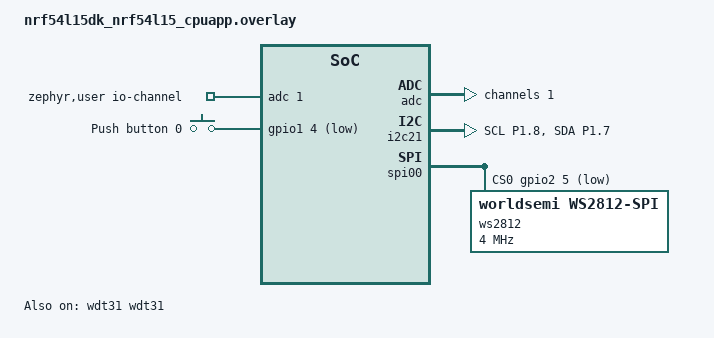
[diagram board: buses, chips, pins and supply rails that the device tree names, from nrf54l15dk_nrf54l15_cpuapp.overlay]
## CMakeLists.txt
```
cmake_minimum_required(VERSION 3.20.0)
find_package(Zephyr REQUIRED HINTS $ENV{ZEPHYR_BASE})
project(Frizmee_v1)
target_sources(app PRIVATE src/main.c)
target_sources(app PRIVATE src/ble.h)
target_sources(app PRIVATE src/ws2812.h)
if(CONFIG_APP_USE_RETAINED_MEM)
  target_sources(app PRIVATE src/retained.c)
endif()
```

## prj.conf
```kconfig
CONFIG_BT=y
CONFIG_BT_PERIPHERAL=y
CONFIG_BT_DEVICE_NAME="Freezmee_v2"
CONFIG_WATCHDOG=y
CONFIG_BT_GATT_CLIENT=y
CONFIG_BT_USER_DATA_LEN_UPDATE=y
CONFIG_BT_CTLR_DATA_LENGTH_MAX=251
CONFIG_BT_BUF_ACL_RX_SIZE=251
CONFIG_BT_BUF_ACL_TX_SIZE=251
CONFIG_BT_L2CAP_TX_MTU=247
CONFIG_SYSTEM_WORKQUEUE_STACK_SIZE=8192
CONFIG_MAIN_STACK_SIZE=8192
CONFIG_BT_RX_STACK_SIZE=2048
CONFIG_LOG=y
CONFIG_SERIAL=y
CONFIG_PRINTK=y
CONFIG_ADC=y
CONFIG_I2C=y
CONFIG_SENSOR=y
CONFIG_GPIO=y
CONFIG_HWINFO=y
CONFIG_POWEROFF=y
CONFIG_BT_DATA_LEN_UPDATE=y
CONFIG_BT_USER_PHY_UPDATE=y
CONFIG_BT_PHY_UPDATE=y
CONFIG_BT_AUTO_PHY_UPDATE=n
CONFIG_BT_BUF_CMD_TX_COUNT=10
CONFIG_BT_CTLR_PHY_CODED=y
CONFIG_MCUBOOT_IMGTOOL_SIGN_VERSION="3.1.1"
CONFIG_NCS_SAMPLE_MCUMGR_BT_OTA_DFU=y
CONFIG_LED_STRIP=y
CONFIG_SPI=y
CONFIG_FPU=y
CONFIG_NEWLIB_LIBC=y
CONFIG_NEWLIB_LIBC_FLOAT_PRINTF=y
# NFC 
CONFIG_NFC_T2T_NRFXLIB=y
CONFIG_NFC_NDEF=y
CONFIG_NFC_NDEF_MSG=y
CONFIG_NFC_NDEF_RECORD=y
CONFIG_NFC_NDEF_TEXT_RECORD=y
CONFIG_NFC_NDEF_URI_MSG=y
CONFIG_NFC_NDEF_URI_REC=y
```

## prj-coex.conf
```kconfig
CONFIG_BT=y
CONFIG_LOG=y
CONFIG_BT_LL_SW_SPLIT=y
CONFIG_BT_CTLR_COEX_TICKER=y
```

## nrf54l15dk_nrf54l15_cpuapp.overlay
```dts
#include <dt-bindings/led/led.h>
/ {
	zephyr,user {
		io-channels = <&adc 1>;
	};

	aliases {
		// i2c0 = &i2c20;
		i2c1 = &i2c21;
		i2c2 = &i2c22;
		adc0 = &adc;
	};
	buttons{

		button0: button_0 {
			gpios = <&gpio1 4 (GPIO_PULL_DOWN | GPIO_ACTIVE_LOW)>;
			label = "Push button 0";
			zephyr,code = <INPUT_KEY_0>;
		};
	};

};
&adc {


	#address-cells = <1>;
	#size-cells = <0>;
	status = "okay";

	channel@1 {
		reg = <1>;
		zephyr,gain = "ADC_GAIN_1_4";
		zephyr,reference = "ADC_REF_INTERNAL";
		zephyr,acquisition-time = <ADC_ACQ_TIME_DEFAULT>;
		zephyr,input-positive = <NRF_SAADC_AIN5>; /* P1.01 */
		zephyr,resolution = <12>;
		zephyr,oversampling = <8>;
	};
};
&uart20 {
	status = "disabled";
};
&wdt31 {
	status = "okay";
	label = "wdt31";
};

&i2c21 {
	status = "okay";
	pinctrl-0 = <&i2c21_default>;
	pinctrl-1 = <&i2c21_sleep>;
	pinctrl-names = "default", "sleep";
};
&spi00 {
	status = "okay";
	cs-gpios = <&gpio2 5 GPIO_ACTIVE_LOW>;
	pinctrl-0 = <&spi00_default>;
	pinctrl-1 = <&spi00_sleep>;
	pinctrl-names = "default", "sleep";
	label = "spi00";
	ws2812: ws2812@0 {
		compatible = "worldsemi,ws2812-spi";
		reg = <0>;
		spi-max-frequency = <4000000>;
		chain-length = <8>;
		color-mapping = <LED_COLOR_ID_GREEN>,
		                <LED_COLOR_ID_RED>,
		                <LED_COLOR_ID_BLUE>;
		spi-one-frame = <0xE>;
		spi-zero-frame = <0x8>;
		status = "okay";
	};
};

&pinctrl {
	i2c21_default: i2c21_default {
		group1 {
			psels = <NRF_PSEL(TWIM_SCL, 1, 8)>, <NRF_PSEL(TWIM_SDA, 1, 7)>;
		};
	};

	i2c21_sleep: i2c21_sleep {
		group1 {
			psels = <NRF_PSEL(TWIM_SCL, 1, 8)>, <NRF_PSEL(TWIM_SDA, 1, 7)>;
		};
	};
};
```

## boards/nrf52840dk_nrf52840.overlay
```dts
/{
    coex_gpio: coex {
        compatible = "gpio-radio-coex";
        grant-gpios = <&gpio1 0 (GPIO_PULL_DOWN | GPIO_ACTIVE_LOW)>;
        grant-delay-us = <150>;
    };
};

&radio {
    coex = <&coex_gpio>;
};
```

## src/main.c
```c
#include <zephyr/kernel.h>
#include <zephyr/types.h>
#include <zephyr/device.h>
#include <stddef.h>
#include <zephyr/bluetooth/bluetooth.h>
#include <zephyr/bluetooth/hci.h>
#include <hal/nrf_gpio.h>
#include <zephyr/logging/log.h>
#include <zephyr/drivers/sensor.h>
#include <zephyr/drivers/i2c.h>
#include <zephyr/drivers/gpio.h>
#include <zephyr/sys/printk.h>
// adc

#include <zephyr/drivers/adc.h>
#include <zephyr/sys/util.h>
#include <hal/nrf_power.h>
#include <zephyr/drivers/hwinfo.h>
#include <zephyr/pm/device.h>
#include <zephyr/sys/poweroff.h>
#include "ble.h"
#include "ws2812.h"
/* NFC */
#include <stdio.h>
#include <nfc_t2t_lib.h>
#include <nfc/ndef/msg.h>
#include <nfc/ndef/text_rec.h>
#include <nfc/ndef/uri_msg.h>
#include <nfc/ndef/record.h>
#include <zephyr/devicetree.h>
#include <zephyr/drivers/watchdog.h>
#if !DT_NODE_EXISTS(DT_PATH(zephyr_user)) || \
	!DT_NODE_HAS_PROP(DT_PATH(zephyr_user), io_channels)
#endif
#define DT_SPEC_AND_COMMA(node_id, prop, idx) \
	ADC_DT_SPEC_GET_BY_IDX(node_id, idx),
static const struct adc_dt_spec adc_channels[] = {DT_FOREACH_PROP_ELEM(DT_PATH(zephyr_user), io_channels, DT_SPEC_AND_COMMA)};

#define INT_EN 0x10
#define INT_STATUS 0x37
#define INT_MASK 0x0F
#define OPAR_MODE_REG 0x3d
#define NDOF 0x0c
#define ACC_INT_Settings 0x12
#define PAGE_ID 0x07
#define BNO055_INT_STA_ADDR 0X37
#define SLEEP_TIME_MS 1000
#define ACC_NM_INT (1 << 1)
#define ACC_NM_MSK (1 << 1)
#define ACC_INT_SETTINGS 0x12
#define ACC_NM_THRES 0x03
#define ACC_NM_SET (1 << 0) | (30 << 1)
#define ACCONLY 0x01
#define SYS_TRIGGER 0x3f
#define ACC_AM_THRES 0x12
#define POWER_MODE_ADDR 0x3E
#define RST_INT 0x40
#define ACC_AM_MSK 0x40
#define ACC_AM_INT 0x40
#define ACC_HIGH_G 0x20
#define BNO055_i2C_ADDR 0x29
#define SW0_NODE DT_ALIAS(sw0)
#define MY_STACK_SIZE 1024
#define MY_PRIORITY 5

/* bno055 Address */
#define BNO055_ACCEL_DATA_ADDR 0x08
#define BNO055_MAG_DATA_ADDR 0x0E
#define BNO055_GYRO_DATA_ADDR 0x14
#define BNO055_EULER_DATA_ADDR 0x1A
#define BNO055_QUATERNION_DATA_ADDR 0x20
#define BNO055_LIA_DATA_ADDR 0x28
#define BNO055_GRAVITY_DATA_ADDR 0x2E
#define MAX_REC_COUNT 1
#define NDEF_MSG_BUF_SIZE 256
/* battery */
int32_t bat_voltage = 0;
uint8_t soc = 0;
const struct device *wdt = DEVICE_DT_GET(DT_NODELABEL(wdt31));
static const struct gpio_dt_spec Interrupt = GPIO_DT_SPEC_GET_OR(SW0_NODE, gpios, {0});
static const struct device *i2c = DEVICE_DT_GET(DT_ALIAS(i2c1));
K_THREAD_STACK_DEFINE(my_stack_area, MY_STACK_SIZE);
float ax, ay, az, mx, my, gx, gy, gz, mz, qw, qx, qy, qz, lax, lay, laz, heading, roll, pitch, gvx, gvy, gvz;
int16_t axis_diff_xp = 0;
int16_t axis_diff_xa = 0;
int16_t axis_diff_yp = 0;
int16_t axis_diff_ya = 0;
int16_t axis_diff_zp = 0;
int16_t axis_diff_za = 0;
bool bno055_Eflag = 0;
struct k_thread my_thread_data;
uint8_t r = 0, g = 50, b = 0;
bool nfc_flag = 1;
uint8_t buf;
uint8_t count = 0;
int8_t in_Hand_Threshold = 3;
/* NFC */
static void nfc_callback(void *context, nfc_t2t_event_t event, const uint8_t *data, size_t data_len)
{
	switch (event)
	{
	case NFC_T2T_EVENT_FIELD_ON:
		printf("NFC tag Field event\n");
		break;
	case NFC_T2T_EVENT_FIELD_OFF:
		printf("NFC tag write event\n");
		break;
	default:
		printf("Unknown NFC event\n");
		break;
	}
}
void nfc_write(void *p1, void *p2, void *p3)
{
	ARG_UNUSED(p1);
	ARG_UNUSED(p2);
	ARG_UNUSED(p3);

	static const uint8_t uri[] = "mlworkx.com";
	uint8_t ndef_mdg_buf[128];
	size_t len = sizeof(ndef_mdg_buf);
	nfc_ndef_uri_msg_encode(
		NFC_URI_HTTP_WWW,
		uri,
		sizeof(uri) - 1,
		ndef_mdg_buf,
		&len);
	nfc_t2t_setup(nfc_callback, NULL);
	nfc_t2t_payload_set(ndef_mdg_buf, len);
	nfc_t2t_emulation_start();
	while (nfc_flag == 1)
	{
		k_sleep(K_MSEC(100));
	}
	nfc_t2t_emulation_stop();
	nfc_t2t_done();
}

void readVector(uint8_t addr, float *x, float *y, float *z, float scale)
{
	uint8_t data[6];
	int ret = i2c_burst_read(i2c, BNO055_i2C_ADDR, addr, data, sizeof(data));
	if (ret < 0)
	{
		printf("I2C read error: %d\n", ret);
		return;
	}
	int16_t raw = (int16_t)((data[1] << 8) | data[0]);
	*x = (float)raw / scale;
	raw = (int16_t)((data[3] << 8) | data[2]);
	*y = (float)raw / scale;
	raw = (int16_t)((data[5] << 8) | data[4]);
	*z = (float)raw / scale;
}
void readQuaternion(float *x, float *y, float *z, float *w)
{
	uint8_t data[8];
	int ret = i2c_burst_read(i2c, BNO055_i2C_ADDR, 0x20, data, sizeof(data));
	if (ret < 0)
	{
		printf("I2C read error: %d\n", ret);
		return;
	}
	// Combine the two bytes for each component and apply scale
	int16_t raw = (int16_t)((data[1] << 8) | data[0]);
	*w = (float)raw / 16384.0f;
	raw = (int16_t)((data[3] << 8) | data[2]);
	*x = (float)raw / 16384.0f;
	raw = (int16_t)((data[5] << 8) | data[4]);
	*y = (float)raw / 16384.0f;
	raw = (int16_t)((data[7] << 8) | data[6]);
	*z = (float)raw / 16384.0f;
}

void read_bno055(void)
{
	readVector(BNO055_ACCEL_DATA_ADDR, &ax, &ay, &az, 100.0f);			// Acceleration in m/s²
	readVector(BNO055_GYRO_DATA_ADDR, &gx, &gy, &gz, 16.0f);			// Gyroscope in °/s
	readVector(BNO055_MAG_DATA_ADDR, &mx, &my, &mz, 16.0f);				// Magnetometer in µT
	readVector(BNO055_EULER_DATA_ADDR, &heading, &roll, &pitch, 16.0f); // Euler angles in °
	readQuaternion(&qx, &qy, &qz, &qw);									// Quaternion
	readVector(BNO055_LIA_DATA_ADDR, &lax, &lay, &laz, 100.0f);			// Linear acceleration in m/s²
	axis_diff_xa = axis_diff_xp - ax;
	axis_diff_xp = ax;
	axis_diff_ya = axis_diff_yp - ay;
	axis_diff_yp = ay;
	axis_diff_za = axis_diff_zp - az;
	axis_diff_zp = az;
}
void send_all_bno055(void)
{
	read_bno055();
	memset(data, 0, sizeof(data));
	data[0] = 0xaa; 
	data[1] = 0x01; 
	data[2] = 0x00; 
	data[3] = 0x01; 
	data[4] = soc;
	data[6] = bat_voltage / 100;
	data[8] = 0x00;
	memcpy(&data[9], &ax, sizeof(float));
	memcpy(&data[13], &ay, sizeof(float));
	memcpy(&data[17], &az, sizeof(float));
	memcpy(&data[21], &gx, sizeof(float)); 
	memcpy(&data[25], &gy, sizeof(float));
	memcpy(&data[29], &gz, sizeof(float));
	memcpy(&data[33], &qw, sizeof(float)); 
	memcpy(&data[37], &qx, sizeof(float));
	memcpy(&data[41], &qy, sizeof(float));
	memcpy(&data[45], &qz, sizeof(float));
	memcpy(&data[49], &heading, sizeof(float)); 
	memcpy(&data[53], &roll, sizeof(float));
	memcpy(&data[57], &pitch, sizeof(float));
	memcpy(&data[61], &led_status, sizeof(int8_t)); 
	data[62] = 0x55;
	if (ble_connected)
	{
		notify_data();
	}
}

uint8_t blink = 1;
bool led_flag = 0;

void ws2812_led()
{
	/* The format of payload is:
	BYTE 0: HEADER
	BYTE 1: RED INTENSITY
	BYTE 2: GREEN INTENSITY
	BYTE 3: BLUE INTENSITY
	BYTE 4: BLINK
	BYTE 5: FOOTER
	*/
	// Make sure that the buffer received is of 6 bytes
	while (1)
	{
		if (request_recieved)
		{
			request_recieved = false;
			if ((recieved_payload_length == 6) && (buf_ptr[recieved_payload_length - 1] == 0x55) && (buf_ptr[0] == 0xAA))
			{
				printk("VALID PAYLOAD");
				r = buf_ptr[1];
				g = buf_ptr[2];
				b = buf_ptr[3];
				blink = buf_ptr[4];
				led_status = 3;
			}
			else
			{
				printk("INVALID PAYLOAD");
			}
		}
		if (led_flag)
		{
			led_status = 3;
		}
		printk("ws2812_led status: %d\n", led_status);
		if (led_status == 0)
		{
			ws2812_set_colors(50, 50, 50);
		}
		else if (led_status == 1)
		{
			ws2812_set_colors(0, 0, 50);
		}
		else if (led_status == 2)
		{
			ws2812_set_colors(0, 50, 0);
			// led_status = 3;
		}
		else if (led_status == 3)
		{
			ws2812_set_colors(r, g, b);
			led_flag = 1;
		}
		else if (led_status == 4)
		{
			ws2812_set_colors(50, 0, 0);
		}
		else if (led_status == 5)
		{
			ws2812_set_colors(0, 0, 0);
		}
		else if (led_status == 6)
		{
			ws2812_set_colors(0xff, 0, 0xff);
		}
		else if (led_status == 7)
		{
			ws2812_set_colors(99, 78, 00);
		}
		if (blink)
		{
			k_msleep(500);
			ws2812_set_colors(0, 0, 0);
			k_msleep(500);
		}
		k_msleep(100);
	}
}

#define PDN_PIN NRF_GPIO_PIN_MAP(1, 13) 
#define RX_PIN NRF_GPIO_PIN_MAP(1, 9)	
#define TX_PIN NRF_GPIO_PIN_MAP(1, 6)	
#define ANT_PIN NRF_GPIO_PIN_MAP(1, 10) 
static void fem_Init_54dk_cust()
{
	nrf_gpio_cfg_output(PDN_PIN); 
	nrf_gpio_cfg_output(TX_PIN);  
	nrf_gpio_cfg_output(RX_PIN);  
	nrf_gpio_cfg_output(ANT_PIN); 
	nrf_gpio_pin_set(23);		
	nrf_gpio_pin_set(17);		  
};
static void fem_Tx_54_20()
{
	printf("Rx is disable\n");
	nrf_gpio_pin_clear(RX_PIN); 
	nrf_gpio_pin_set(ANT_PIN);	
	nrf_gpio_pin_set(TX_PIN);	
	printf("Tx is Enabled\n");
};
static void fem_Tx_54_10()
{
	printf("Rx is disable\n");
	nrf_gpio_pin_clear(RX_PIN);
	nrf_gpio_pin_clear(ANT_PIN);
	nrf_gpio_pin_set(TX_PIN);	 
	printf("Tx is Enabled\n");
};

int bat_pwr_init()
{
	int err;
	for (size_t i = 0U; i < ARRAY_SIZE(adc_channels); i++)
	{
		if (!adc_is_ready_dt(&adc_channels[i]))
		{
			printk("ADC controller device %s not ready\n", adc_channels[i].dev->name);
			return 0;
		}

		err = adc_channel_setup_dt(&adc_channels[i]);
		if (err < 0)
		{
			printk("Could not setup channel #%d (%d)\n", i, err);
			return 0;
		}
	}
	return 0;
}
void bat_read()
{
	uint8_t err;
	uint16_t adc_buf;
	struct adc_sequence sequence = {
		.buffer = &adc_buf,
		.buffer_size = sizeof(adc_buf),
	};
	printk("ADC reading[%u]:\n", count++);
	for (size_t i = 0U; i < ARRAY_SIZE(adc_channels); i++)
	{
		int32_t val_mv;

		printk("- %s, channel %d: ",
			   adc_channels[i].dev->name,
			   adc_channels[i].channel_id);
		(void)adc_sequence_init_dt(&adc_channels[i], &sequence);
		err = adc_read(adc_channels[i].dev, &sequence);
		if (err < 0)
		{
			printk("Could not read (%d)\n", err);
			continue;
		}
		if (adc_channels[i].channel_cfg.differential)
		{
			val_mv = (int32_t)((int16_t)adc_buf);
		}
		else
		{
			val_mv = (int32_t)adc_buf;
		}
		printk("%" PRId32, val_mv);
		err = adc_raw_to_millivolts_dt(&adc_channels[i],
									   &val_mv);
		if (err < 0)
		{
			printk(" (value in mV not available)\n");
		}
		else
		{
			printk(" = %" PRId32 " mV\n", val_mv);
		}
		if (val_mv > 2166)
		{
			val_mv = 2166;
		}
		else if (val_mv < 1604)
		{
			val_mv = 1604;
		}
		soc = ((val_mv - 1604) * 100 / (2166 - 1604));
		bat_voltage = val_mv;
		printk("\nCharged = %d per", soc);
	}
}

void print_reset_cause(uint32_t reset_cause)
{
	if (reset_cause & RESET_DEBUG)
	{
		printf("Reset by debugger.\n");
	}
	else if (reset_cause & RESET_CLOCK)
	{
		printf("Wakeup from System OFF by GRTC.\n");
	}
	else if (reset_cause & RESET_LOW_POWER_WAKE)
	{
		printf("Wakeup from System OFF by GPIO.\n");
	}
	else
	{
		printf("Other wake up cause 0x%08X.\n", reset_cause);
	}
}

int sys_off()
{

	uint32_t reset_cause;
	hwinfo_get_reset_cause(&reset_cause);
	print_reset_cause(reset_cause);
	hwinfo_clear_reset_cause();
	sys_poweroff();
	return 0;
}

uint8_t read_int_status()
{
	uint8_t int_status;
	int ret = i2c_burst_read(i2c, BNO055_i2C_ADDR, BNO055_INT_STA_ADDR, &int_status, 1);
	if (ret < 0)
	{
		printf("I2C read error: %d\n", ret);
		return ret;
	}
	return int_status;
}

int wdt_channel_id;
void watch_dog_timer_init()
{
	struct wdt_timeout_cfg wdt_config = {
		.flags = WDT_FLAG_RESET_SOC, 
		.window.min = 0,			
		.window.max = 10000,		
		.callback = NULL,			 
	};
	wdt_channel_id = wdt_install_timeout(wdt, &wdt_config);
	wdt_setup(wdt, NULL);
};

void bno055_enter_low_power(void)
{
	/* Low_power */
	i2c_reg_write_byte(i2c, BNO055_i2C_ADDR, OPAR_MODE_REG, 0x00);
	k_msleep(20);

	i2c_reg_write_byte(i2c, BNO055_i2C_ADDR, POWER_MODE_ADDR, 0x01);
	k_msleep(20);
	i2c_reg_write_byte(i2c, BNO055_i2C_ADDR, PAGE_ID, 1);
	k_msleep(20);

	i2c_reg_write_byte(i2c, BNO055_i2C_ADDR, INT_EN, ACC_AM_INT | ACC_NM_INT);
	k_msleep(20);

	i2c_reg_write_byte(i2c, BNO055_i2C_ADDR, INT_MASK, 0x00);
	k_msleep(20);

	i2c_reg_write_byte(i2c, BNO055_i2C_ADDR, ACC_AM_THRES, 0x0E);
	k_msleep(20);

	i2c_reg_write_byte(i2c, BNO055_i2C_ADDR, ACC_INT_SETTINGS, 0b00011110);
	k_msleep(20);

	i2c_reg_write_byte(i2c, BNO055_i2C_ADDR, ACC_NM_THRES, 0x03);
	k_msleep(20);

	i2c_reg_write_byte(i2c, BNO055_i2C_ADDR, ACC_NM_SET, (1 << 0) | (30 << 1));
	k_msleep(20);

	i2c_reg_write_byte(i2c, BNO055_i2C_ADDR, PAGE_ID, 0);
	k_msleep(20);
	i2c_reg_write_byte(i2c, BNO055_i2C_ADDR, OPAR_MODE_REG, ACCONLY);
	k_msleep(20);
	i2c_reg_write_byte(i2c, BNO055_i2C_ADDR, SYS_TRIGGER, 0x40);
}
// #define ACC_AM_INT (1 << 0)

int main(void)
{
	start_time = k_uptime_get();
	int err;
	watch_dog_timer_init();

	ws2812_init();
	k_msleep(100);

	k_thread_create(&my_thread_data, my_stack_area, K_THREAD_STACK_SIZEOF(my_stack_area), ws2812_led, NULL, NULL, NULL, MY_PRIORITY, 0, K_NO_WAIT);
	bat_pwr_init();
	bat_read();

	if (soc < 20)
	{

		uint8_t low_pwr_count = 0;
		while (low_pwr_count < 4)
		{
			led_status = 4;
			low_pwr_count++;
			k_msleep(1000);
		}
	}
	fem_Init_54dk_cust();
	fem_Tx_54_20();
	err = ble_init();
	if (err)
	{
		printk("Bluetooth init failed (err %d)\n", err);
	}
	start_advertising();

	
	i2c_reg_write_byte(i2c, BNO055_i2C_ADDR, OPAR_MODE_REG, 0x00); 
	k_msleep(20);
	i2c_reg_write_byte(i2c, BNO055_i2C_ADDR, PAGE_ID, 1); 
	k_msleep(20);
	i2c_reg_write_byte(i2c, BNO055_i2C_ADDR, INT_EN, ACC_AM_INT); 
	k_msleep(20);
	i2c_reg_write_byte(i2c, BNO055_i2C_ADDR, ACC_AM_THRES, 0x0e); 
	k_msleep(20);
	i2c_reg_write_byte(i2c, BNO055_i2C_ADDR, INT_MASK, ACC_AM_MSK); 
	k_msleep(20);
	i2c_reg_write_byte(i2c, BNO055_i2C_ADDR, PAGE_ID, 0);
	k_msleep(20);
	i2c_reg_write_byte(i2c, BNO055_i2C_ADDR, OPAR_MODE_REG, NDOF); 
	k_msleep(20);
	i2c_reg_write_byte(i2c, BNO055_i2C_ADDR, SYS_TRIGGER, 0x40); 

	while (1)
	{
		wdt_feed(wdt, wdt_channel_id);
		bat_read();
		send_all_bno055();
		k_msleep(100);
		int val_time = k_uptime_get();
		printk("current time %d", val_time);
		if (!ble_connected && val_time > start_time + 10000 && bno055_Eflag == 0)
		{
			led_flag = 0;
			blink = 0;
			gpio_pin_configure_dt(&Interrupt, GPIO_INPUT);
			if (read_int_status())
			{
				i2c_reg_write_byte(i2c, BNO055_i2C_ADDR, SYS_TRIGGER, 0x40); // Resetting Int pin
			}
			else
			{
				gpio_pin_interrupt_configure_dt(&Interrupt, GPIO_INT_LEVEL_HIGH);
				ble_deinit();
				led_status = 5;
				ws2812_set_colors(0, 0, 0);
				k_msleep(500);
				nfc_flag = 0;
				sys_off();
			}
		}
		else if (ble_connected || axis_diff_xa > in_Hand_Threshold || axis_diff_ya > in_Hand_Threshold || axis_diff_ya < -in_Hand_Threshold || axis_diff_xa < -in_Hand_Threshold || axis_diff_ya < -in_Hand_Threshold || axis_diff_ya < -in_Hand_Threshold)
		{
			start_time = k_uptime_get();
		}
		else
		{
			continue;
		}
	}
	return 0;
}
K_THREAD_DEFINE(
	nfc_thread_id,
	1024,
	nfc_write,
	NULL, NULL, NULL,
	5,
	0,
	0);
```

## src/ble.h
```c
#include <zephyr/kernel.h>
#include <zephyr/bluetooth/bluetooth.h>
#include <zephyr/bluetooth/conn.h>
#include <zephyr/bluetooth/gatt.h>
#include <zephyr/bluetooth/uuid.h>
#include <zephyr/sys/printk.h>

static struct bt_uuid_128 custom_service_uuid = BT_UUID_INIT_128(BT_UUID_CUSTOM_SERVICE_VAL);
static struct bt_uuid_128 custom_char_uuid = BT_UUID_INIT_128(BT_UUID_CUSTOM_CHAR_VAL);

static uint8_t data[80] = {0};
static bool notify_enabled = false;
static struct bt_conn *default_conn;
static bool ble_connected = false;
int start_time;
uint8_t *buf_ptr;
uint16_t recieved_payload_length;
bool request_recieved;
int8_t led_status = 1; /* 0-off 1- advertising 2-connected 3-custom 4-error */

#define BT_UUID_CUSTOM_SERVICE_VAL \
	BT_UUID_128_ENCODE(0x12345678, 0x1234, 0x5678, 0x9abc, 0xdef012345678)

#define BT_UUID_CUSTOM_CHAR_VAL \
	BT_UUID_128_ENCODE(0x12345678, 0x1234, 0x5678, 0x9abc, 0xdef012345679)

static void ccc_cfg_changed(const struct bt_gatt_attr *attr, uint16_t value)
{
	ARG_UNUSED(attr);
	notify_enabled = (value == BT_GATT_CCC_NOTIFY);
	printk("Notifications %s\n", notify_enabled ? "enabled" : "disabled");
}

static ssize_t read_data(struct bt_conn *conn,
						 const struct bt_gatt_attr *attr,
						 void *buf, uint16_t len, uint16_t offset)
{
	return bt_gatt_attr_read(conn, attr, buf, len, offset, data, sizeof(data));
}

static uint8_t rx_buf[20];
static ssize_t write_my_char(struct bt_conn *conn,
							 const struct bt_gatt_attr *attr,
							 const void *buf, uint16_t len,
							 uint16_t offset, uint8_t flags)
{
	request_recieved = true;
	recieved_payload_length = len;
	printk("Printing from callback: ");
	buf_ptr = (uint8_t *)buf;
	for (int i = 0; i < recieved_payload_length; i++)
	{
		printk("%02X", buf_ptr[i]);
	}
	printk("\n");

	uint16_t copy_len = MIN(len, sizeof(rx_buf) - 1);
	memcpy(rx_buf, buf, copy_len);
	rx_buf[copy_len] = '\0';

	if (len == 0)
	{
		return 0;
	}
	return len;
}

BT_GATT_SERVICE_DEFINE(custom_svc,
					   BT_GATT_PRIMARY_SERVICE(&custom_service_uuid),
					   BT_GATT_CHARACTERISTIC(&custom_char_uuid.uuid,
											  BT_GATT_CHRC_READ | BT_GATT_CHRC_WRITE | BT_GATT_CHRC_NOTIFY,
											  BT_GATT_PERM_READ | BT_GATT_PERM_WRITE,
											  read_data, write_my_char, data),
					   BT_GATT_CCC(ccc_cfg_changed, BT_GATT_PERM_READ | BT_GATT_PERM_WRITE));

static void connected(struct bt_conn *conn, uint8_t err);
static void disconnected(struct bt_conn *conn, uint8_t reason);

void on_le_phy_updated(struct bt_conn *conn, struct bt_conn_le_phy_info *param)
{
	if (param->tx_phy == BT_CONN_LE_TX_POWER_PHY_1M)
	{
		printk("PHY updated. New PHY: 1M\n");
	}
	else if (param->tx_phy == BT_CONN_LE_TX_POWER_PHY_2M)
	{
		printk("PHY updated. New PHY: 2M\n");
	}
	else if (param->tx_phy == BT_CONN_LE_TX_POWER_PHY_CODED_S8)
	{
		printk("PHY updated. New PHY: Long Range\n");
	}
}
static struct bt_conn_cb conn_callbacks = {
	.connected = connected,
	.disconnected = disconnected,
	.le_phy_updated = on_le_phy_updated,
};
int notify_data(void)
{
	int err;
	int attempt = 0;
	if (!default_conn)
		return -ENOTCONN;
	if (!notify_enabled)
		return -EACCES;

	size_t data_len = 0; 
	for (size_t i = 0; i < sizeof(data); i++)
	{
		if (data[i] != 0)
			data_len = i + 1;
	}

	struct bt_gatt_notify_params params = {
		.attr = &custom_svc.attrs[2],
		.data = data,
		.len = data_len,
	};
	err = bt_gatt_notify(default_conn, params.attr, params.data, params.len);
	return -ENOMEM;
}

static void update_phy(struct bt_conn *conn)
{
	int err;
	const struct bt_conn_le_phy_param preferred_phy = {
		.options = BT_CONN_LE_PHY_OPT_NONE,
		.pref_rx_phy = BT_GAP_LE_PHY_2M,
		.pref_tx_phy = BT_GAP_LE_PHY_2M,
	};

	err = bt_conn_le_phy_update(conn, &preferred_phy);
	if (err)
	{
		printk("bt_conn_le_phy_update() returned %d", err);
	}
}

static void connected(struct bt_conn *conn, uint8_t err)
{
	if (err)
	{
		printk("Connection failed (err 0x%02x)\n", err);
		return;
	}
	char addr[BT_ADDR_LE_STR_LEN];
	bt_addr_le_to_str(bt_conn_get_dst(conn), addr, sizeof(addr));
	printk("Connected to: %s\n", addr);

	default_conn = bt_conn_ref(conn);
	ble_connected = true;
	led_status = 2;
}

static void disconnected(struct bt_conn *conn, uint8_t reason)
{
	char addr[BT_ADDR_LE_STR_LEN];
	bt_addr_le_to_str(bt_conn_get_dst(conn), addr, sizeof(addr));
	printk("Disconnected from: %s (reason 0x%02x)\n", addr, reason);

	ble_connected = false;
	led_status = 4;
	k_msleep(1000);
	if (default_conn)
	{
		led_status = 1;
		bt_conn_unref(default_conn);
		default_conn = NULL;
	}
}

int8_t ble_init(void)
{
	int err = bt_enable(NULL);
	if (err)
	{
		printk("Bluetooth init failed (err %d)\n", err);
		return err;
	}
	printk("Bluetooth initialized\n");
	bt_conn_cb_register(&conn_callbacks);
	return 0;
}

int8_t ble_deinit(void)
{
	int err;
	if (default_conn)
	{
		err = bt_conn_disconnect(default_conn, BT_HCI_ERR_REMOTE_USER_TERM_CONN);
		if (err)
		{
			printk("Disconnection failed (err %d)\n", err);
			return err;
		}
		bt_conn_unref(default_conn);
		default_conn = NULL;
		printk("Disconnection initiated\n");
	}
	err = bt_disable();
	if (err)
	{
		printk("Bluetooth disable failed (err %d)\n", err);
		return err;
	}
	printk("Bluetooth disabled\n");
	led_status = 0;
	return 0;
}

int8_t start_advertising(void)
{
	int err;

	struct bt_le_adv_param *adv_params =
		BT_LE_ADV_PARAM(BT_LE_ADV_OPT_CONNECTABLE | BT_LE_ADV_OPT_USE_NAME,
						BT_GAP_ADV_FAST_INT_MIN_2,
						BT_GAP_ADV_FAST_INT_MAX_2,
						NULL);

	const struct bt_data ad[] = {
		BT_DATA_BYTES(BT_DATA_FLAGS, (BT_LE_AD_GENERAL | BT_LE_AD_NO_BREDR)),
		BT_DATA_BYTES(BT_DATA_UUID128_ALL, BT_UUID_CUSTOM_SERVICE_VAL),
	};
	err = bt_le_adv_start(adv_params, ad, ARRAY_SIZE(ad), NULL, 0);
	if (err)
	{
		printk("Advertising failed to start (err %d)\n", err);
		return err;
	}
	printk("Advertising successfully started\n");
	led_status = 1;
	return 0;
}

int8_t stop_advertising(void)
{
	int err = bt_le_adv_stop();
	if (err)
	{
		printk("Failed to stop advertising (err %d)\n", err);
		return err;
	}
	printk("Advertising successfully stopped\n");
	led_status = 0;
	return 0;
}

int8_t disconnect(void)
{
	int err;
	if (default_conn)
	{
		err = bt_conn_disconnect(default_conn, BT_HCI_ERR_REMOTE_USER_TERM_CONN);
		if (err)
		{
			printk("Disconnection failed (err %d)\n", err);
			return err;
		}
		bt_conn_unref(default_conn);
		default_conn = NULL;
		printk("Disconnection initiated\n");
	}
	else
	{
		printk("No active connection to disconnect\n");
	}
	led_status = 0;
	return 0;
}
```

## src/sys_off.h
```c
#include <inttypes.h>
#include <stdio.h>
#include <zephyr/device.h>
#include <zephyr/drivers/gpio.h>
#include <zephyr/drivers/hwinfo.h>
#include <zephyr/kernel.h>
#include <zephyr/pm/device.h>
#include <zephyr/sys/poweroff.h>
#include <zephyr/sys/util.h>

void print_reset_cause(uint32_t reset_cause)
{
	if (reset_cause & RESET_DEBUG) {
		printf("Reset by debugger.\n");
	} else if (reset_cause & RESET_CLOCK) {
		printf("Wakeup from System OFF by GRTC.\n");
	} else if (reset_cause & RESET_LOW_POWER_WAKE) {
		printf("Wakeup from System OFF by GPIO.\n");
	} else  {
		printf("Other wake up cause 0x%08X.\n", reset_cause);
	}
}
int sys_off (void)
{
	int rc;
	uint32_t reset_cause;
	const struct device *const cons = DEVICE_DT_GET(DT_CHOSEN(zephyr_console));

	if (!device_is_ready(cons)) {
		printf("%s: device not ready.\n", cons->name);
		return 0;
	}
	hwinfo_get_reset_cause(&reset_cause);
	print_reset_cause(reset_cause);
	rc = gpio_pin_configure_dt(&sw0, GPIO_INPUT);
	if (rc < 0) {
		printf("Could not configure sw0 GPIO (%d)\n", rc);
		return 0;
	}

	rc = gpio_pin_interrupt_configure_dt(&sw0, GPIO_INT_LEVEL_ACTIVE);
	if (rc < 0) {
		printf("Could not configure sw0 GPIO interrupt (%d)\n", rc);
		return 0;
	}
	printf("Entering system off; press sw0 to restart\n");
	rc = pm_device_action_run(cons, PM_DEVICE_ACTION_SUSPEND);
	if (rc < 0) {
		printf("Could not suspend console (%d)\n", rc);
		return 0;
	}
	hwinfo_clear_reset_cause();
	sys_poweroff();
	return 0;
}
```

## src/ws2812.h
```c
#include <zephyr/kernel.h>
#include <zephyr/device.h>
#include <zephyr/drivers/spi.h>
#include <zephyr/drivers/gpio.h>

#define LED_COUNT 8
#define SPI_FREQ 4000000  
#define WS2812_0_CODE 0x8 
#define WS2812_1_CODE 0xE 
static struct rgb_color leds[LED_COUNT];
static uint8_t spi_buffer[LED_COUNT * 24 + 50]; 
const struct device *spi_dev;

struct rgb_color
{
    uint8_t red;
    uint8_t green;
    uint8_t blue;
};

struct spi_config spi_cfg = {
    .frequency = SPI_FREQ,
    .operation = SPI_WORD_SET(8) | SPI_TRANSFER_MSB | SPI_MODE_CPOL | SPI_MODE_CPHA,
    .slave = 0,
    .cs = NULL,
};

void set_pixel_color(int pixel, uint8_t red, uint8_t green, uint8_t blue)
{
    if (pixel < LED_COUNT && pixel >= 0)
    {
        leds[pixel].red = red;
        leds[pixel].green = green;
        leds[pixel].blue = blue;
    }
}

void clear_all_leds(void)
{
    for (int i = 0; i < LED_COUNT; i++)
    {
        leds[i].red = 0;
        leds[i].green = 0;
        leds[i].blue = 0;
    }
}

void send_to_strip(void)
{
    int buf_idx = 0;
    for (int i = 0; i < 50; i++)
    {
        spi_buffer[buf_idx++] = 0x00;
    }
    for (int led = 0; led < LED_COUNT; led++)
    {
        uint8_t colors[3] = {leds[led].green, leds[led].red, leds[led].blue};

        for (int color_byte = 0; color_byte < 3; color_byte++)
        {
            uint8_t byte = colors[color_byte];
            for (int bit = 7; bit >= 0; bit--)
            {
                if (byte & (1 << bit))
                {
                    spi_buffer[buf_idx++] = WS2812_1_CODE; // High bit
                }
                else
                {
                    spi_buffer[buf_idx++] = WS2812_0_CODE; // Low bit
                }
            }
        }
    }

    for (int i = 0; i < 30; i++)
    {
        spi_buffer[buf_idx++] = 0x00;
    }
    struct spi_buf tx_buf = {
        .buf = spi_buffer,
        .len = buf_idx};
    struct spi_buf_set tx_bufs = {
        .buffers = &tx_buf,
        .count = 1};

    int ret = spi_write(spi_dev, &spi_cfg, &tx_bufs);
    if (ret < 0)
    {
        printf("SPI write failed: %d", ret);
    }
    k_usleep(500);
}

int8_t ws2812_init(void)
{
   
    spi_dev = DEVICE_DT_GET(DT_NODELABEL(spi00));
    if (!device_is_ready(spi_dev))
    {
        printk("SPI device not ready!");
        return -1;
    }
    else
    {
        printk("spiDev is ready");
    }

    clear_all_leds();
    send_to_strip();
    k_sleep(K_MSEC(100));
    return 0;
}

void ws2812_deinit(void)
{
    clear_all_leds();
    send_to_strip();
}

int8_t ws2812_set_color(int pixel, uint8_t red, uint8_t green, uint8_t blue)
{
    if (pixel < 0 || pixel >= LED_COUNT)
    {
        return -1;
    }
    set_pixel_color(pixel, red, green, blue);
    send_to_strip();
    return 0;
}

int8_t ws2812_set_colors(uint8_t red, uint8_t green, uint8_t blue)
{
    for (int i = 0; i < LED_COUNT; i++)
    {
        set_pixel_color(i, red, green, blue);
    }
    send_to_strip();
    return 0;
}
```
